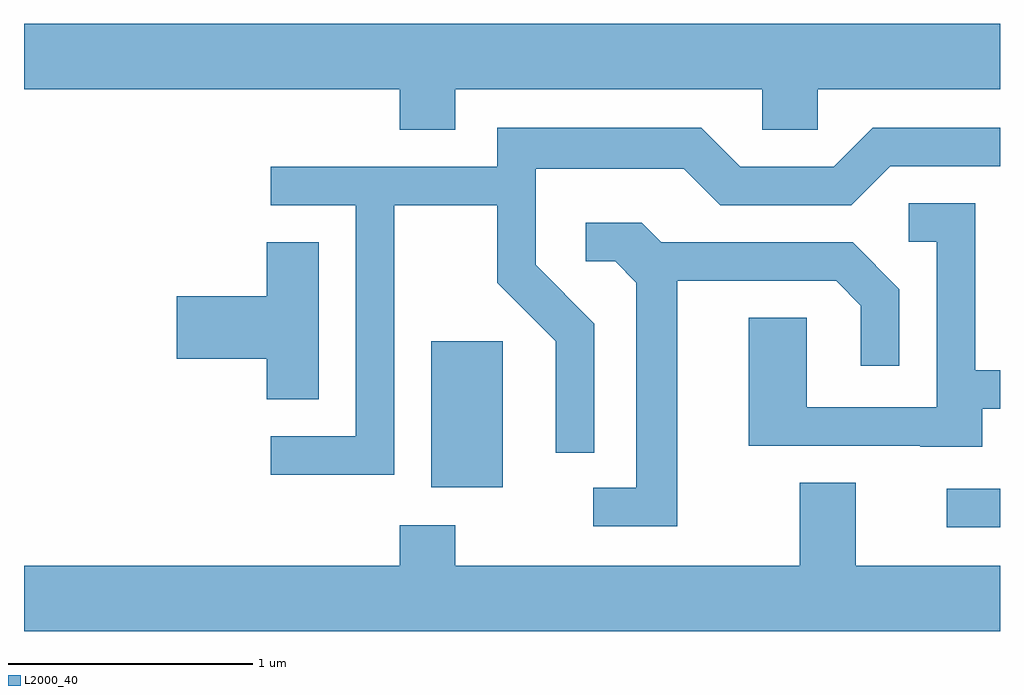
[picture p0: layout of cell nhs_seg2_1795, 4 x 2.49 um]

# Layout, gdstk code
import gdstk
lib = gdstk.Library(unit=1e-6, precision=1e-09)
def R(c, l, rs):  # rectangles x0, y0, x1, y1
    for r in rs: c.add(gdstk.rectangle(r[:2], r[2:], *l))
def P(c, l, *ps):  # polygons
    for p in ps: c.add(gdstk.Polygon(p, *l))
L2000_40 = (2000, 40)

nhs_seg2_1795 = lib.new_cell('nhs_seg2_1795')
R(nhs_seg2_1795, L2000_40, [(241.393,1033.201,241.611,1033.359), (239.281,1033.366,239.574,1033.964)])
P(nhs_seg2_1795, L2000_40, [(239.379,1034.996),(240.636,1034.996),(240.636,1034.831),(240.864,1034.831),(240.864,1034.996),(241.611,1034.996),(241.611,1035.264),(237.611,1035.264),(237.611,1034.996),(239.151,1034.996),(239.151,1034.831),(239.379,1034.831)],
  [(239.129,1034.521),(239.551,1034.521),(239.551,1034.204),(239.791,1033.964),(239.791,1033.507),(239.949,1033.507),(239.949,1034.036),(239.709,1034.277),(239.709,1034.671),(240.314,1034.671),(240.464,1034.521),(241.002,1034.521),(241.162,1034.681),(241.611,1034.681),(241.611,1034.839),(241.089,1034.839),(240.929,1034.679),(240.547,1034.679),(240.387,1034.839),(239.551,1034.839),(239.551,1034.679),(238.623,1034.679),(238.623,1034.521),(238.971,1034.521),(238.971,1033.574),(238.623,1033.574),(238.623,1033.416),(239.129,1033.416)],
  [(241.539,1033.686),(241.611,1033.686),(241.611,1033.844),(241.509,1033.844),(241.509,1034.529),(241.238,1034.529),(241.238,1034.371),(241.351,1034.371),(241.351,1033.694),(240.819,1033.694),(240.819,1034.059),(240.581,1034.059),(240.581,1033.536),(241.285,1033.536),(241.285,1033.531),(241.539,1033.531)],
  [(240.289,1034.211),(240.939,1034.211),(241.041,1034.109),(241.041,1033.863),(241.199,1033.863),(241.199,1034.177),(241.007,1034.369),(240.222,1034.369),(240.142,1034.449),(239.913,1034.449),(239.913,1034.291),(240.034,1034.291),(240.121,1034.204),(240.121,1033.364),(239.943,1033.364),(239.943,1033.206),(240.289,1033.206)],
  [(238.819,1034.369),(238.606,1034.369),(238.606,1034.149),(238.236,1034.149),(238.236,1033.891),(238.606,1033.891),(238.606,1033.726),(238.819,1033.726)],
  [(241.611,1033.044),(241.019,1033.044),(241.019,1033.384),(240.791,1033.384),(240.791,1033.044),(239.379,1033.044),(239.379,1033.209),(239.151,1033.209),(239.151,1033.044),(237.611,1033.044),(237.611,1032.776),(241.611,1032.776)])

lib.write_gds('nhs_seg2_1795.gds')
